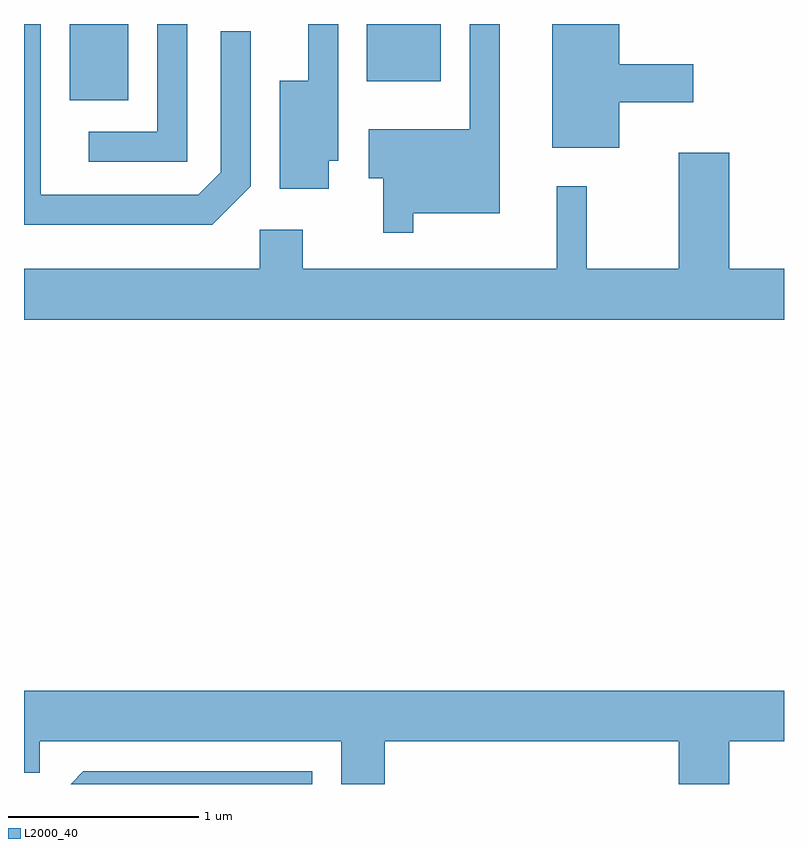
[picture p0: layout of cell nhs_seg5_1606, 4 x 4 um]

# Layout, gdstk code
import gdstk
lib = gdstk.Library(unit=1e-6, precision=1e-09)
def R(c, l, rs):  # rectangles x0, y0, x1, y1
    for r in rs: c.add(gdstk.rectangle(r[:2], r[2:], *l))
def P(c, l, *ps):  # polygons
    for p in ps: c.add(gdstk.Polygon(p, *l))
L2000_40 = (2000, 40)

nhs_seg5_1606 = lib.new_cell('nhs_seg5_1606')
R(nhs_seg5_1606, L2000_40, [(231.851,1515.671,232.159,1516.072), (233.416,1515.771,233.804,1516.072)])
P(nhs_seg5_1606, L2000_40, [(232.804,1515.219),(232.804,1516.033),(232.646,1516.033),(232.646,1515.292),(232.529,1515.174),(231.699,1515.174),(231.699,1516.072),(231.611,1516.072),(231.611,1515.016),(232.602,1515.016)],
  [(234.744,1515.661),(235.134,1515.661),(235.134,1515.859),(234.744,1515.859),(234.744,1516.072),(234.391,1516.072),(234.391,1515.421),(234.744,1515.421)],
  [(232.469,1516.072),(232.311,1516.072),(232.311,1515.504),(231.953,1515.504),(231.953,1515.346),(232.469,1515.346)],
  [(233.214,1515.351),(233.264,1515.351),(233.264,1516.072),(233.106,1516.072),(233.106,1515.774),(232.956,1515.774),(232.956,1515.206),(233.214,1515.206)],
  [(233.659,1515.076),(234.114,1515.076),(234.114,1516.072),(233.956,1516.072),(233.956,1515.519),(233.426,1515.519),(233.426,1515.261),(233.501,1515.261),(233.501,1514.973),(233.659,1514.973)],
  [(235.611,1514.784),(235.324,1514.784),(235.324,1515.394),(235.056,1515.394),(235.056,1514.784),(234.574,1514.784),(234.574,1515.218),(234.416,1515.218),(234.416,1514.784),(233.079,1514.784),(233.079,1514.989),(232.851,1514.989),(232.851,1514.784),(231.611,1514.784),(231.611,1514.516),(235.611,1514.516)],
  [(233.509,1512.296),(235.056,1512.296),(235.056,1512.072),(235.324,1512.072),(235.324,1512.296),(235.611,1512.296),(235.611,1512.564),(231.611,1512.564),(231.611,1512.131),(231.694,1512.131),(231.694,1512.296),(233.281,1512.296),(233.281,1512.072),(233.509,1512.072)],
  [(233.129,1512.139),(231.924,1512.139),(231.857,1512.072),(233.129,1512.072)])

lib.write_gds('nhs_seg5_1606.gds')
